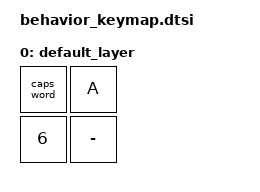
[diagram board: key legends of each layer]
#include <dt-bindings/zmk/keys.h>
#include <behaviors.dtsi>
#include <dt-bindings/zmk/input_matrix_mock.h>

/ {
    keymap {
        compatible = "zmk,keymap";

        default_layer {
            bindings = <
                &caps_word &kp A
                &kp N6 &kp MINUS
            >;
        };
    };
};
